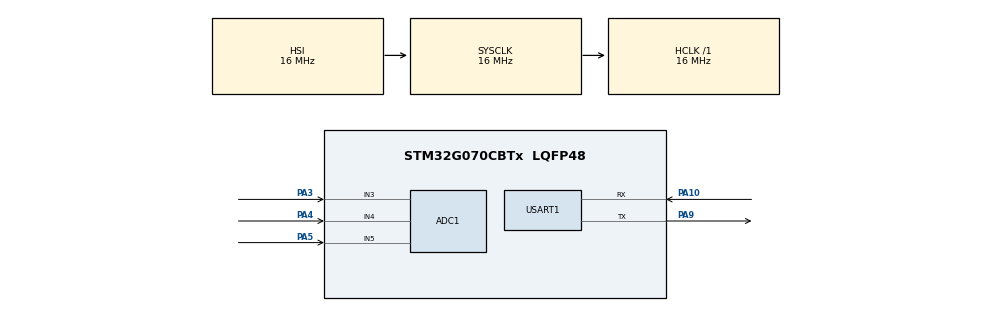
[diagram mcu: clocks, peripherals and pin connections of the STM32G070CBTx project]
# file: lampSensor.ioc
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ADC1.Channel-0\#ChannelRegularConversion=ADC_CHANNEL_3
ADC1.ContinuousConvMode=ENABLE
ADC1.NbrOfConversionFlag=1
ADC1.Rank-0\#ChannelRegularConversion=1
ADC1.SamplingTime-0\#ChannelRegularConversion=ADC_SAMPLINGTIME_COMMON_1
ADC1.SelectedChannel=ADC_CHANNEL_3|ADC_CHANNEL_4|ADC_CHANNEL_5
ADC1.master=1
Mcu.Family=STM32G0
Mcu.Name=STM32G070CBTx
Mcu.Package=LQFP48
NVIC.USART1_IRQn=true\:0\:0\:false\:false\:true\:true\:true\:true
PA10.Mode=Asynchronous
PA10.Signal=USART1_RX
PA13.Mode=Serial_Wire
PA13.Signal=SYS_SWDIO
PA14-BOOT0.Mode=Serial_Wire
PA14-BOOT0.Signal=SYS_SWCLK
PA3.Mode=IN3
PA3.Signal=ADC1_IN3
PA4.Mode=IN4
PA4.Signal=ADC1_IN4
PA5.Mode=IN5
PA5.Signal=ADC1_IN5
PA9.Mode=Asynchronous
PA9.Signal=USART1_TX
ProjectManager.HeapSize=0x200
ProjectManager.StackSize=0x400
ProjectManager.TargetToolchain=STM32CubeIDE
RCC.AHBFreq_Value=16000000
RCC.CortexFreq_Value=16000000
RCC.EXTERNAL_CLOCK_VALUE=48000
RCC.HCLKFreq_Value=16000000
RCC.HSE_VALUE=8000000
RCC.HSI_VALUE=16000000
RCC.LSE_VALUE=32768
RCC.SYSCLKFreq_VALUE=16000000
RCC.VCOOutputFreq_Value=128000000
TIM15.AutoReloadPreload=TIM_AUTORELOAD_PRELOAD_ENABLE
TIM15.Period=65535
TIM15.Prescaler=16000
TIM16.AutoReloadPreload=TIM_AUTORELOAD_PRELOAD_ENABLE
TIM16.Period=65535
TIM16.Prescaler=16000
TIM17.AutoReloadPreload=TIM_AUTORELOAD_PRELOAD_ENABLE
TIM17.Prescaler=16000
USART1.VirtualMode-Asynchronous=VM_ASYNC
VP_TIM15_VS_ClockSourceINT.Mode=Internal
VP_TIM16_VS_ClockSourceINT.Mode=Enable_Timer
VP_TIM17_VS_ClockSourceINT.Mode=Enable_Timer
board=custom

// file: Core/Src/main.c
/* USER CODE BEGIN Header */
/**
  ******************************************************************************
  * @file           : main.c
  * @brief          : Main program body
  ******************************************************************************
  * @attention
  *
  * Copyright (c) 2022 STMicroelectronics.
  * All rights reserved.
  *
  * This software is licensed under terms that can be found in the LICENSE file
  * in the root directory of this software component.
  * If no LICENSE file comes with this software, it is provided AS-IS.
  *
  ******************************************************************************
  */
/* USER CODE END Header */
#include "main.h"

ADC_HandleTypeDef hadc1;

TIM_HandleTypeDef htim15;
TIM_HandleTypeDef htim16;
TIM_HandleTypeDef htim17;

UART_HandleTypeDef huart1;

void SystemClock_Config(void);
static void MX_GPIO_Init(void);
static void MX_ADC1_Init(void);
static void MX_TIM15_Init(void);
static void MX_TIM16_Init(void);
static void MX_USART1_UART_Init(void);
static void MX_TIM17_Init(void);
/* USER CODE BEGIN PFP */
char checkLampStatus(void);
void clearRx(void);
uint8_t CRC_MODBUS(uint8_t *input, uint8_t size);
/* USER CODE END PFP */

/* USER CODE BEGIN 0 */
#define ADCthreshold  2000
#define MODBUSADD 0x01
#define SensorType  0x01

uint16_t debug = 0;
uint8_t lampStatus = 0;
uint8_t pre_lampStatus = 0;
uint8_t whichLight = 0;
uint8_t isBlink = 0;

#define maxRxSize 20
uint8_t rx_dataChar;
uint8_t rx_data[maxRxSize];
uint8_t rx_count = 0;

uint8_t tx_data[14];

uint8_t buffComming;
uint8_t rxDataFull;

uint16_t Blink_RedAccumulateTime = 0;
uint16_t Blink_YellowAccumulateTime = 0;
uint16_t Blink_GreenAccumulateTime = 0;
/* USER CODE END 0 */

int main(void)
{

  /* MCU Configuration--------------------------------------------------------*/

  /* Reset of all peripherals, Initializes the Flash interface and the Systick. */
  HAL_Init();

  /* Configure the system clock */
  SystemClock_Config();

  /* Initialize all configured peripherals */
  MX_GPIO_Init();
  MX_ADC1_Init();
  MX_TIM15_Init();
  MX_TIM16_Init();
  MX_USART1_UART_Init();
  MX_TIM17_Init();
  /* USER CODE BEGIN 2 */
  HAL_ADC_Start(&hadc1);
  HAL_TIM_Base_Start(&htim15);
  HAL_TIM_Base_Start(&htim17);
  HAL_UART_Receive_IT(&huart1, &rx_dataChar, 1);
  /* USER CODE END 2 */

  /* Infinite loop */
  /* USER CODE BEGIN WHILE */
  while (1)
  {
	lampStatus = checkLampStatus();

	if(lampStatus == 0){
		if(whichLight != 0){
			HAL_TIM_Base_Start(&htim15);
		}
		if(__HAL_TIM_GetCounter(&htim15) > 3000){
			HAL_TIM_Base_Stop(&htim15);
			__HAL_TIM_SET_COUNTER(&htim15,0);
			whichLight = 0;
		}
	}
	if(lampStatus != 0){
		if(whichLight != 0){
			__HAL_TIM_SET_COUNTER(&htim15,0);
		}
		whichLight = lampStatus;
	}

	if(__HAL_TIM_GetCounter(&htim16) > 5){
		__HAL_TIM_SET_COUNTER(&htim16,0);
	    HAL_TIM_Base_Stop(&htim16);
	    buffComming = 0;
	    if(CRC_MODBUS(rx_data, rx_count) && rx_data[0] == MODBUSADD) modbusTransHandle();
	    clearRx();
	}

	//if(rxDataFull = 1){}

    /* USER CODE END WHILE */

  }
}

void SystemClock_Config(void)
{
  RCC_OscInitTypeDef RCC_OscInitStruct = {0};
  RCC_ClkInitTypeDef RCC_ClkInitStruct = {0};

  /** Configure the main internal regulator output voltage
  */
  HAL_PWREx_ControlVoltageScaling(PWR_REGULATOR_VOLTAGE_SCALE1);

  /** Initializes the RCC Oscillators according to the specified parameters
  * in the RCC_OscInitTypeDef structure.
  */
  RCC_OscInitStruct.OscillatorType = RCC_OSCILLATORTYPE_HSI;
  RCC_OscInitStruct.HSIState = RCC_HSI_ON;
  RCC_OscInitStruct.HSIDiv = RCC_HSI_DIV1;
  RCC_OscInitStruct.HSICalibrationValue = RCC_HSICALIBRATION_DEFAULT;
  RCC_OscInitStruct.PLL.PLLState = RCC_PLL_NONE;
  if (HAL_RCC_OscConfig(&RCC_OscInitStruct) != HAL_OK)
  {
    Error_Handler();
  }

  /** Initializes the CPU, AHB and APB buses clocks
  */
  RCC_ClkInitStruct.ClockType = RCC_CLOCKTYPE_HCLK|RCC_CLOCKTYPE_SYSCLK
                              |RCC_CLOCKTYPE_PCLK1;
  RCC_ClkInitStruct.SYSCLKSource = RCC_SYSCLKSOURCE_HSI;
  RCC_ClkInitStruct.AHBCLKDivider = RCC_SYSCLK_DIV1;
  RCC_ClkInitStruct.APB1CLKDivider = RCC_HCLK_DIV1;

  if (HAL_RCC_ClockConfig(&RCC_ClkInitStruct, FLASH_LATENCY_0) != HAL_OK)
  {
    Error_Handler();
  }
}

static void MX_ADC1_Init(void)
{

  ADC_ChannelConfTypeDef sConfig = {0};

  /** Configure the global features of the ADC (Clock, Resolution, Data Alignment and number of conversion)
  */
  hadc1.Instance = ADC1;
  hadc1.Init.ClockPrescaler = ADC_CLOCK_SYNC_PCLK_DIV2;
  hadc1.Init.Resolution = ADC_RESOLUTION_12B;
  hadc1.Init.DataAlign = ADC_DATAALIGN_RIGHT;
  hadc1.Init.ScanConvMode = ADC_SCAN_DISABLE;
  hadc1.Init.EOCSelection = ADC_EOC_SINGLE_CONV;
  hadc1.Init.LowPowerAutoWait = DISABLE;
  hadc1.Init.LowPowerAutoPowerOff = DISABLE;
  hadc1.Init.ContinuousConvMode = ENABLE;
  hadc1.Init.NbrOfConversion = 1;
  hadc1.Init.ExternalTrigConv = ADC_SOFTWARE_START;
  hadc1.Init.ExternalTrigConvEdge = ADC_EXTERNALTRIGCONVEDGE_NONE;
  hadc1.Init.DMAContinuousRequests = DISABLE;
  hadc1.Init.Overrun = ADC_OVR_DATA_PRESERVED;
  hadc1.Init.SamplingTimeCommon1 = ADC_SAMPLETIME_1CYCLE_5;
  hadc1.Init.SamplingTimeCommon2 = ADC_SAMPLETIME_1CYCLE_5;
  hadc1.Init.OversamplingMode = DISABLE;
  hadc1.Init.TriggerFrequencyMode = ADC_TRIGGER_FREQ_HIGH;
  if (HAL_ADC_Init(&hadc1) != HAL_OK)
  {
    Error_Handler();
  }

  /** Configure Regular Channel
  */
  sConfig.Channel = ADC_CHANNEL_3;
  sConfig.Rank = ADC_REGULAR_RANK_1;
  sConfig.SamplingTime = ADC_SAMPLINGTIME_COMMON_1;
  if (HAL_ADC_ConfigChannel(&hadc1, &sConfig) != HAL_OK)
  {
    Error_Handler();
  }

}

static void MX_TIM15_Init(void)
{

  TIM_ClockConfigTypeDef sClockSourceConfig = {0};
  TIM_MasterConfigTypeDef sMasterConfig = {0};

  htim15.Instance = TIM15;
  htim15.Init.Prescaler = 16000;
  htim15.Init.CounterMode = TIM_COUNTERMODE_UP;
  htim15.Init.Period = 65535;
  htim15.Init.ClockDivision = TIM_CLOCKDIVISION_DIV1;
  htim15.Init.RepetitionCounter = 0;
  htim15.Init.AutoReloadPreload = TIM_AUTORELOAD_PRELOAD_ENABLE;
  if (HAL_TIM_Base_Init(&htim15) != HAL_OK)
  {
    Error_Handler();
  }
  sClockSourceConfig.ClockSource = TIM_CLOCKSOURCE_INTERNAL;
  if (HAL_TIM_ConfigClockSource(&htim15, &sClockSourceConfig) != HAL_OK)
  {
    Error_Handler();
  }
  sMasterConfig.MasterOutputTrigger = TIM_TRGO_RESET;
  sMasterConfig.MasterSlaveMode = TIM_MASTERSLAVEMODE_DISABLE;
  if (HAL_TIMEx_MasterConfigSynchronization(&htim15, &sMasterConfig) != HAL_OK)
  {
    Error_Handler();
  }

}

static void MX_TIM16_Init(void)
{

  htim16.Instance = TIM16;
  htim16.Init.Prescaler = 16000;
  htim16.Init.CounterMode = TIM_COUNTERMODE_UP;
  htim16.Init.Period = 65535;
  htim16.Init.ClockDivision = TIM_CLOCKDIVISION_DIV1;
  htim16.Init.RepetitionCounter = 0;
  htim16.Init.AutoReloadPreload = TIM_AUTORELOAD_PRELOAD_ENABLE;
  if (HAL_TIM_Base_Init(&htim16) != HAL_OK)
  {
    Error_Handler();
  }

}

static void MX_TIM17_Init(void)
{

  htim17.Instance = TIM17;
  htim17.Init.Prescaler = 16000;
  htim17.Init.CounterMode = TIM_COUNTERMODE_UP;
  htim17.Init.Period = 65535;
  htim17.Init.ClockDivision = TIM_CLOCKDIVISION_DIV1;
  htim17.Init.RepetitionCounter = 0;
  htim17.Init.AutoReloadPreload = TIM_AUTORELOAD_PRELOAD_ENABLE;
  if (HAL_TIM_Base_Init(&htim17) != HAL_OK)
  {
    Error_Handler();
  }

}

static void MX_USART1_UART_Init(void)
{

  huart1.Instance = USART1;
  huart1.Init.BaudRate = 115200;
  huart1.Init.WordLength = UART_WORDLENGTH_8B;
  huart1.Init.StopBits = UART_STOPBITS_1;
  huart1.Init.Parity = UART_PARITY_NONE;
  huart1.Init.Mode = UART_MODE_TX_RX;
  huart1.Init.HwFlowCtl = UART_HWCONTROL_NONE;
  huart1.Init.OverSampling = UART_OVERSAMPLING_16;
  huart1.Init.OneBitSampling = UART_ONE_BIT_SAMPLE_DISABLE;
  huart1.Init.ClockPrescaler = UART_PRESCALER_DIV1;
  huart1.AdvancedInit.AdvFeatureInit = UART_ADVFEATURE_NO_INIT;
  if (HAL_UART_Init(&huart1) != HAL_OK)
  {
    Error_Handler();
  }
  if (HAL_UARTEx_SetTxFifoThreshold(&huart1, UART_TXFIFO_THRESHOLD_1_8) != HAL_OK)
  {
    Error_Handler();
  }
  if (HAL_UARTEx_SetRxFifoThreshold(&huart1, UART_RXFIFO_THRESHOLD_1_8) != HAL_OK)
  {
    Error_Handler();
  }
  if (HAL_UARTEx_DisableFifoMode(&huart1) != HAL_OK)
  {
    Error_Handler();
  }

}

static void MX_GPIO_Init(void)
{

  /* GPIO Ports Clock Enable */
  __HAL_RCC_GPIOA_CLK_ENABLE();

}

/* USER CODE BEGIN 4 */
char checkLampStatus(void)
{
  ADC_ChannelConfTypeDef sConfigPrivate = {0};
  uint16_t DCValue[3];

  sConfigPrivate.Channel = ADC_CHANNEL_2;
  HAL_ADC_ConfigChannel(&hadc1, &sConfigPrivate);
  HAL_ADC_Start(&hadc1);
  HAL_ADC_PollForConversion(&hadc1,1000);
  DCValue[0] = HAL_ADC_GetValue(&hadc1);
  HAL_ADC_Stop(&hadc1);

  sConfigPrivate.Channel = ADC_CHANNEL_5;
  HAL_ADC_ConfigChannel(&hadc1, &sConfigPrivate);
  HAL_ADC_Start(&hadc1);
  HAL_ADC_PollForConversion(&hadc1,1000);
  DCValue[1] = HAL_ADC_GetValue(&hadc1);
  HAL_ADC_Stop(&hadc1);

  sConfigPrivate.Channel = ADC_CHANNEL_7;
  HAL_ADC_ConfigChannel(&hadc1, &sConfigPrivate);
  HAL_ADC_Start(&hadc1);
  HAL_ADC_PollForConversion(&hadc1,1000);
  DCValue[2] = HAL_ADC_GetValue(&hadc1);
  HAL_ADC_Stop(&hadc1);

  //check which is highest value
  uint16_t max = 0;
  char maxPos = 0;
  for(char i = 0; i < 3; i++)
  {
    if(DCValue[i] > max)
    {
      max = DCValue[i];
      maxPos = i + 1;
    }
  }
  //check if that is no light (all off)
  if(max < ADCthreshold) // fix here
  {
    maxPos = 0;
  }
  return maxPos;

}

void HAL_UART_RxCpltCallback(UART_HandleTypeDef *huart){
    if(huart->Instance == USART1){
    	if(buffComming == 0){
    		buffComming = 1;
    		HAL_TIM_Base_Start(&htim16);
    	}
        HAL_UART_Receive_IT(&huart1, &rx_dataChar, 1);
        rx_data[rx_count] = rx_dataChar;
        rx_count++;
        __HAL_TIM_SET_COUNTER(&htim16,0);
    }
}

void clearRx (void)
{
  for(uint8_t i = 0; i < maxRxSize; i++)
  {
    rx_data[i] = '\0';
  }
  rx_count = 0;
}
uint8_t CRC_MODBUS(uint8_t *input, uint8_t size)
{
  uint16_t check_sum[2];
  uint16_t reg_crc = 0xFFFF;

  for(uint8_t i = 0; i < size - 2; i++) { //tru 2 bytes CRC cuoi
    reg_crc ^= input[i];

    for(uint8_t j = 0; j < 8; j++) {
      if((reg_crc & 0x01) == 1) reg_crc = (reg_crc >> 1) ^ 0xA001;
      else reg_crc = reg_crc >> 1;
    }

    check_sum[1] = (reg_crc >> 8) &0xFF;
    check_sum[0] = reg_crc & 0xFF;
    debug = check_sum[0];
  }

  if(input[size-2] == check_sum[0] && input[size-1] == check_sum[1]) return 1;
  else return 0;
}

void Calc_CRC16(uint8_t *input, uint16_t size, uint8_t *output)
{
  uint16_t reg_crc = 0xFFFF;

  for(uint16_t i = 0; i < size; i++)
  {
    reg_crc ^= input[i];
    for(uint8_t j = 0; j < 8; j++)
    {
      if((reg_crc & 0x01) == 1) reg_crc = (reg_crc >> 1) ^ 0xA001;
      else reg_crc = reg_crc >> 1;
    }
  }

  output[1] = (reg_crc >> 8) &0xFF;
  output[0] = reg_crc & 0xFF;
}

void modbusTransHandle (void)
{
	uint8_t CRCbuff[2];

	tx_data[0] = MODBUSADD;
	tx_data[1] = 0x04;
	tx_data[2] = 0x0A;
	tx_data[3] = SensorType;
	tx_data[4] = isBlink;
	tx_data[5] = whichLight;
	tx_data[6] = Blink_RedAccumulateTime >> 8;
	tx_data[7] = Blink_RedAccumulateTime;
	tx_data[8] = Blink_YellowAccumulateTime >> 8;
	tx_data[9] = Blink_YellowAccumulateTime;
	tx_data[10] = Blink_GreenAccumulateTime >> 8;
	tx_data[11] = Blink_GreenAccumulateTime;

	Calc_CRC16(tx_data, 12, CRCbuff);
	tx_data[12] = CRCbuff[0];
	tx_data[13] = CRCbuff[1];

	HAL_UART_Transmit(&huart1,&tx_data,sizeof(tx_data), 100);
}

/* USER CODE END 4 */

void Error_Handler(void)
{
  __disable_irq();
  while (1)
  {
  }
}
